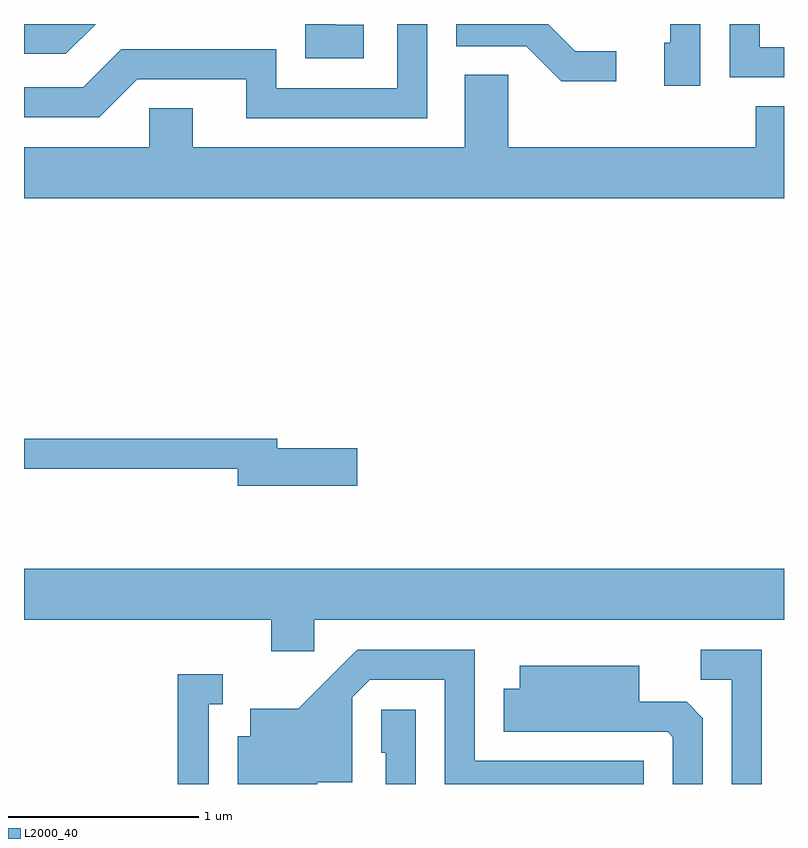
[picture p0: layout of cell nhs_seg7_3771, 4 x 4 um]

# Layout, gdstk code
import gdstk
lib = gdstk.Library(unit=1e-6, precision=1e-09)
def P(c, l, *ps):  # polygons
    for p in ps: c.add(gdstk.Polygon(p, *l))
L2000_40 = (2000, 40)

nhs_seg7_3771 = lib.new_cell('nhs_seg7_3771')
P(nhs_seg7_3771, L2000_40, [(303.169,1806.252),(303.011,1806.252),(303.011,1806.154),(302.981,1806.154),(302.981,1805.926),(303.169,1805.926)],
  [(301.399,1806.249),(301.249,1806.249),(301.249,1806.252),(301.091,1806.252),(301.091,1806.071),(301.399,1806.071)],
  [(301.734,1806.252),(301.576,1806.252),(301.576,1805.914),(300.939,1805.914),(300.939,1806.119),(300.124,1806.119),(299.924,1805.919),(299.611,1805.919),(299.611,1805.761),(300.007,1805.761),(300.207,1805.961),(300.781,1805.961),(300.781,1805.756),(301.734,1805.756)],
  [(302.728,1806.109),(302.512,1806.109),(302.369,1806.252),(301.886,1806.252),(301.886,1806.136),(302.254,1806.136),(302.439,1805.951),(302.728,1805.951)],
  [(303.611,1806.129),(303.484,1806.129),(303.484,1806.252),(303.326,1806.252),(303.326,1805.971),(303.611,1805.971)],
  [(299.988,1806.252),(299.611,1806.252),(299.611,1806.096),(299.832,1806.096)],
  [(303.611,1805.819),(303.461,1805.819),(303.461,1805.604),(302.159,1805.604),(302.159,1805.984),(301.931,1805.984),(301.931,1805.604),(300.499,1805.604),(300.499,1805.809),(300.271,1805.809),(300.271,1805.604),(299.611,1805.604),(299.611,1805.336),(303.611,1805.336)],
  [(301.364,1804.019),(300.944,1804.019),(300.944,1804.069),(299.611,1804.069),(299.611,1803.911),(300.736,1803.911),(300.736,1803.821),(301.364,1803.821)],
  [(301.139,1803.116),(303.611,1803.116),(303.611,1803.384),(299.611,1803.384),(299.611,1803.116),(300.911,1803.116),(300.911,1802.951),(301.139,1802.951)],
  [(301.154,1802.261),(301.339,1802.261),(301.339,1802.709),(301.432,1802.801),(301.826,1802.801),(301.826,1802.252),(302.874,1802.252),(302.874,1802.374),(301.984,1802.374),(301.984,1802.959),(301.364,1802.959),(301.054,1802.649),(300.801,1802.649),(300.801,1802.504),(300.736,1802.504),(300.736,1802.252),(301.154,1802.252)],
  [(303.494,1802.959),(303.173,1802.959),(303.173,1802.801),(303.336,1802.801),(303.336,1802.252),(303.494,1802.252)],
  [(303.184,1802.599),(303.099,1802.684),(302.849,1802.684),(302.849,1802.874),(302.221,1802.874),(302.221,1802.754),(302.136,1802.754),(302.136,1802.526),(302.999,1802.526),(303.026,1802.499),(303.026,1802.252),(303.184,1802.252)],
  [(300.584,1802.671),(300.658,1802.671),(300.658,1802.829),(300.421,1802.829),(300.421,1802.252),(300.584,1802.252)],
  [(301.674,1802.644),(301.491,1802.644),(301.491,1802.416),(301.516,1802.416),(301.516,1802.252),(301.674,1802.252)])

lib.write_gds('nhs_seg7_3771.gds')
